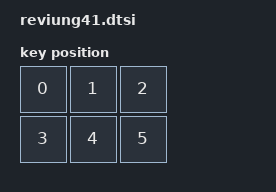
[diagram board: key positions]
#include <physical_layouts.dtsi>

/ {
    gtips_reviung41_layout: gtips_reviung41_layout {
        compatible = "zmk,physical-layout";
        display-name = "reviung41";

        keys
            = <&key_physical_attrs 100 100    0    0       0     0     0>
            , <&key_physical_attrs 100 100  100    0       0     0     0>
            , <&key_physical_attrs 100 100  200    0       0     0     0>
            , <&key_physical_attrs 100 100    0  100       0     0     0>
            , <&key_physical_attrs 100 100  100  100       0     0     0>
            , <&key_physical_attrs 100 100  200  100       0     0     0>
            ;
    };
};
